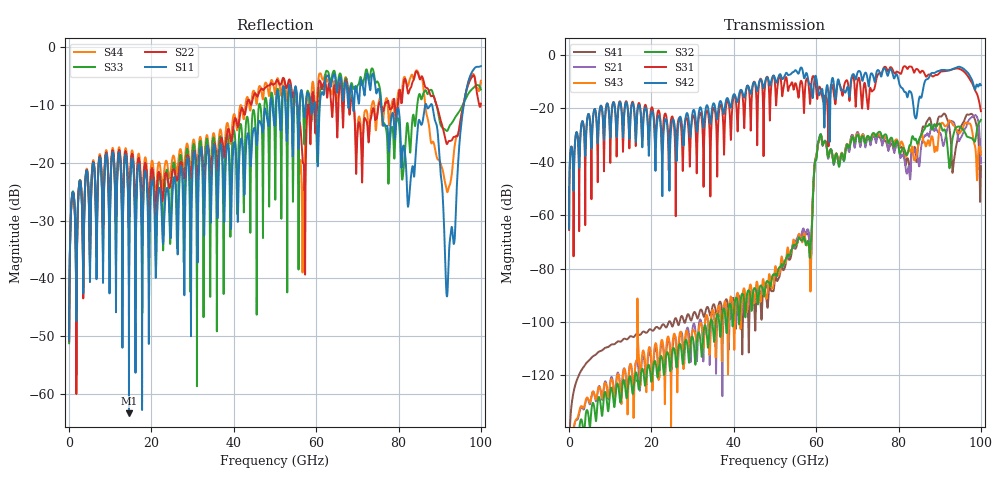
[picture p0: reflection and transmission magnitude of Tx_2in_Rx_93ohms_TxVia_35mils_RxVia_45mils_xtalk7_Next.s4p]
! Info: Touchstone file created by Circ.  Input file=Tx_2in_Rx_93ohms_TxVia_35mils_RxVia_45mils.circ
# Hz S RI R 50
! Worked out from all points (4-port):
!   10000 points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, 10 MHz to 100 GHz, reference 50 ohm
!   strongest paths, dB at 10 MHz, 25.01 GHz, 50.01 GHz, 75.01 GHz, 100 GHz:
!     S42: -65.0, -25.0, -8.9, -5.6, -11.3
!     S31: -65.5, -23.0, -10.9, -7.3, -21.1
!     S32: -179.5, -111.6, -82.1, -29.1, -24.3
!     S43: -174.7, -111.1, -79.8, -29.6, -37.2
!     S21: -175.0, -114.3, -82.8, -30.2, -40.4
!     S41: -161.9, -101.6, -83.2, -30.6, -41.6
!   lowest |S11| = -63.3 dB at 14.54 GHz (marker M1), VSWR 1.00, Z = 50 + j0.0649 ohm
!   |S11| at or under -10 dB: start of sweep to 48.82 GHz; 75.77 GHz to 86.49 GHz (10.72 GHz wide, 13.2 % of centre); 88.14 GHz to 95.85 GHz (7.709 GHz wide, 8.38 % of centre)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
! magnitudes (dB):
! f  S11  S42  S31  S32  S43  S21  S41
! 10 MHz  -50.7  -65.0  -65.5  -179.5  -174.7  -175.0  -161.9
! 14.54 GHz  -63.3  -28.0  -29.8  -121.2  -119.5  -118.3  -105.8
! 58.34 GHz  -8.3  -11.0  -14.6  -73.4  -72.6  -68.3  -69.8
! 60.86 GHz  -10.4  -14.8  -11.9  -30.5  -31.1  -30.2  -30.8
! 73.81 GHz  -4.6  -7.7  -13.2  -29.3  -29.8  -30.2  -30.5
! 91.78 GHz  -43.1  -5.8  -5.8  -32.8  -26.4  -28.0  -23.9
! 100 GHz  -3.3  -11.3  -21.1  -24.3  -37.2  -40.4  -41.6
